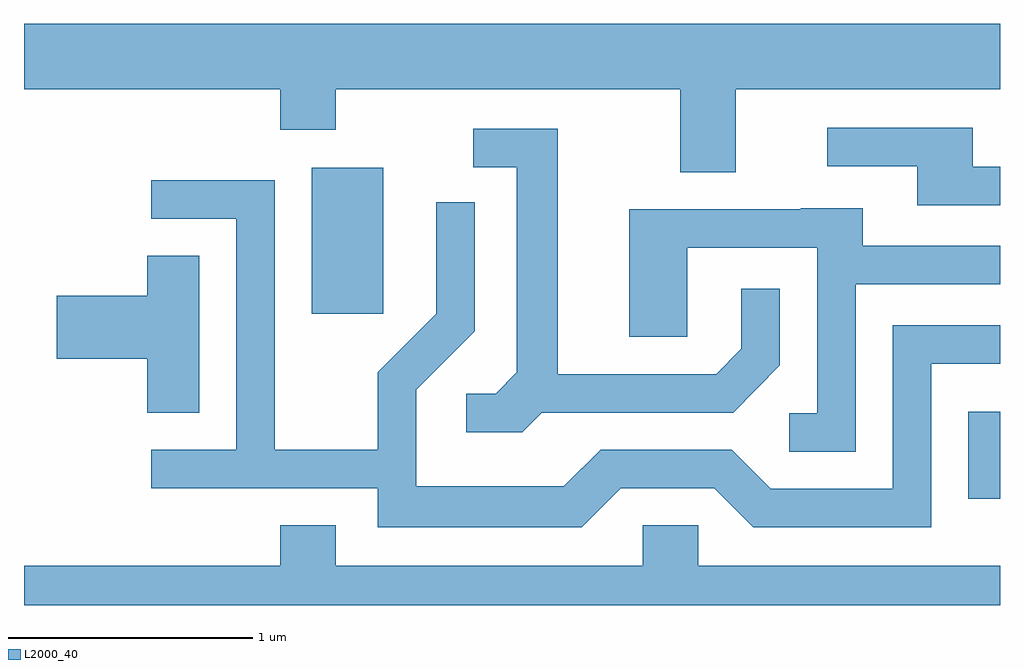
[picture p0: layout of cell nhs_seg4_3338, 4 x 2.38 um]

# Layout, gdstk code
import gdstk
lib = gdstk.Library(unit=1e-6, precision=1e-09)
def R(c, l, rs):  # rectangles x0, y0, x1, y1
    for r in rs: c.add(gdstk.rectangle(r[:2], r[2:], *l))
def P(c, l, *ps):  # polygons
    for p in ps: c.add(gdstk.Polygon(p, *l))
L2000_40 = (2000, 40)

nhs_seg4_3338 = lib.new_cell('nhs_seg4_3338')
R(nhs_seg4_3338, L2000_40, [(287.481,1266.418,287.611,1266.774), (284.791,1267.176,285.084,1267.774)])
P(nhs_seg4_3338, L2000_40, [(283.611,1268.096),(284.661,1268.096),(284.661,1267.931),(284.889,1267.931),(284.889,1268.096),(286.301,1268.096),(286.301,1267.756),(286.529,1267.756),(286.529,1268.096),(287.611,1268.096),(287.611,1268.364),(283.611,1268.364)],
  [(287.611,1267.779),(287.499,1267.779),(287.499,1267.939),(286.903,1267.939),(286.903,1267.781),(287.271,1267.781),(287.271,1267.621),(287.611,1267.621)],
  [(285.732,1266.771),(286.517,1266.771),(286.709,1266.964),(286.709,1267.278),(286.551,1267.278),(286.551,1267.032),(286.449,1266.929),(285.799,1266.929),(285.799,1267.934),(285.453,1267.934),(285.453,1267.776),(285.631,1267.776),(285.631,1266.937),(285.544,1266.849),(285.423,1266.849),(285.423,1266.691),(285.652,1266.691)],
  [(286.057,1266.461),(286.439,1266.461),(286.599,1266.301),(287.329,1266.301),(287.329,1266.971),(287.611,1266.971),(287.611,1267.129),(287.171,1267.129),(287.171,1266.459),(286.672,1266.459),(286.512,1266.619),(285.974,1266.619),(285.824,1266.469),(285.219,1266.469),(285.219,1266.864),(285.459,1267.104),(285.459,1267.633),(285.301,1267.633),(285.301,1267.177),(285.061,1266.937),(285.061,1266.619),(284.639,1266.619),(284.639,1267.724),(284.133,1267.724),(284.133,1267.566),(284.481,1267.566),(284.481,1266.619),(284.133,1266.619),(284.133,1266.461),(285.061,1266.461),(285.061,1266.301),(285.897,1266.301)],
  [(287.019,1267.296),(287.611,1267.296),(287.611,1267.454),(287.049,1267.454),(287.049,1267.609),(286.795,1267.609),(286.795,1267.604),(286.091,1267.604),(286.091,1267.081),(286.329,1267.081),(286.329,1267.446),(286.861,1267.446),(286.861,1266.769),(286.748,1266.769),(286.748,1266.611),(287.019,1266.611)],
  [(284.329,1267.414),(284.116,1267.414),(284.116,1267.249),(283.746,1267.249),(283.746,1266.991),(284.116,1266.991),(284.116,1266.771),(284.329,1266.771)],
  [(287.611,1266.144),(286.374,1266.144),(286.374,1266.309),(286.146,1266.309),(286.146,1266.144),(284.889,1266.144),(284.889,1266.309),(284.661,1266.309),(284.661,1266.144),(283.611,1266.144),(283.611,1265.982),(287.611,1265.982)])

lib.write_gds('nhs_seg4_3338.gds')
